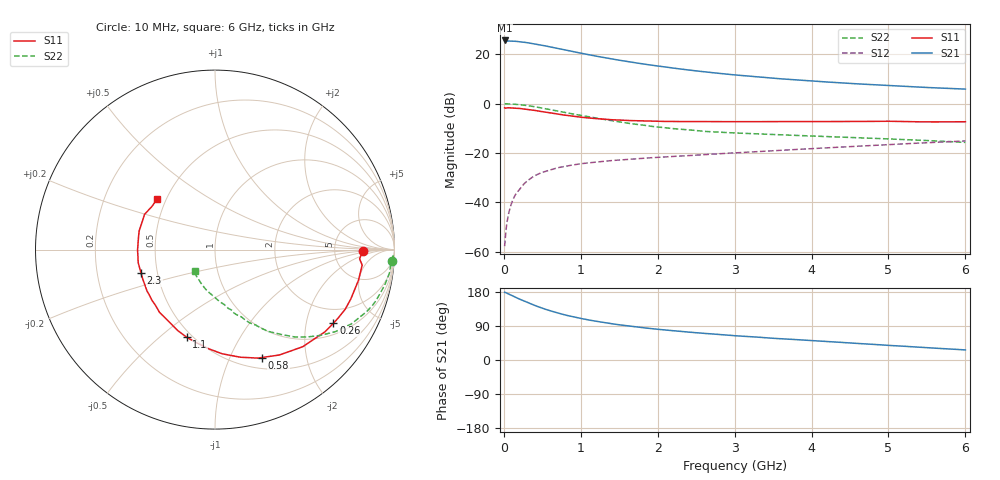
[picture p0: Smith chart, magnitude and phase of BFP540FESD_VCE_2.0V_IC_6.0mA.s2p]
! Infineon Technologies  Discrete & RF Semiconductors
! BFP540FESD
! VCE =  2.0 V,  IC =  6.0 mA
! Common Emitter S-Parameters:  Nov 2015
# GHz  S  MA  R  50
!  f  S11  S21  S12  S22
! GHz  MAG  ANG  MAG  ANG  MAG  ANG  MAG  ANG
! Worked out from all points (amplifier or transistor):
!   210 points, 10 MHz to 6 GHz, reference 50 ohm
!   highest |S21| = 25.6 dB at 10 MHz (marker M1)
!   |S21| within 3 dB of that: start of sweep to 664 MHz
!   unconditionally stable (mu >= 1): 2.563 GHz to end of sweep
!   at 185 MHz: K = 0.09, MSG = 30.3 dB, |S12| = -35.4 dB
!   at 1.52 GHz: K = 0.69, MSG = 20.1 dB, |S12| = -22.8 dB
!   at 6 GHz: K = 1.28, MAG = 7.3 dB, |S12| = -15.1 dB
!   S11 on the Smith chart (normalised r, x): 10 MHz: 10, -0; 260 MHz: 1.39, -2.89; 580 MHz: 0.63, -1.33; 1.1 GHz: 0.47, -0.62; 2.3 GHz: 0.40, -0.13; 6 GHz: 0.45, +0.31
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0.01  0.8227 -0.5  18.95 178.6  0.0013 88.3  0.9873 -3.6
0.02  0.8074 -3.7  18.28 178.2  0.002 85.5  0.9947 -1.6
0.05  0.8247 -6.0  18.49 175.4  0.0048 87.6  0.984 -3.8
0.15  0.8063 -19.4  18.26 166.0  0.0143 80.9  0.9675 -11.4
0.2  0.798 -24.6  17.87 161.0  0.018 77.9  0.9507 -15.2
0.26  0.777 -31.9  17.43 155.9  0.0235 73.9  0.9309 -19.5
0.3  0.7644 -36.9  17.14 152.2  0.0269 72.6  0.9132 -22.2
0.4  0.7292 -47.9  16.17 144.0  0.0346 66.7  0.866 -28.5
0.5  0.6879 -58.6  15.18 136.5  0.0406 62.2  0.8113 -34.3
0.58  0.6562 -66.4  14.26 131.2  0.0443 59.6  0.7681 -38.1
0.8  0.5817 -86.1  12.16 118.6  0.054 53.2  0.6592 -47.6
1.02  0.5264 -102.2  10.34 108.9  0.0611 49.2  0.5701 -54.5
1.1  0.5133 -107.9  9.788 105.7  0.0631 48.0  0.5421 -57.1
1.24  0.4905 -116.7  8.884 100.9  0.0663 46.2  0.4963 -60.3
1.5  0.4668 -131.5  7.549 92.9  0.0718 43.8  0.4274 -66.7
1.72  0.4494 -141.9  6.666 87.2  0.0762 42.9  0.3807 -71.8
2.02  0.4373 -153.9  5.705 80.7  0.0819 42.0  0.3332 -77.6
2.3  0.4325 -162.3  5.001 75.5  0.0868 41.5  0.303 -82.1
3.1  0.4308 178.9  3.693 62.9  0.1025 40.5  0.2508 -94.7
4.1  0.4345 164.7  2.8 50.0  0.1248 38.9  0.2176 -106.5
5.1  0.4357 151.9  2.281 37.5  0.1504 34.6  0.1898 -118.4
6  0.4288 138.6  1.963 26.6  0.175 29.7  0.1636 -133.2
